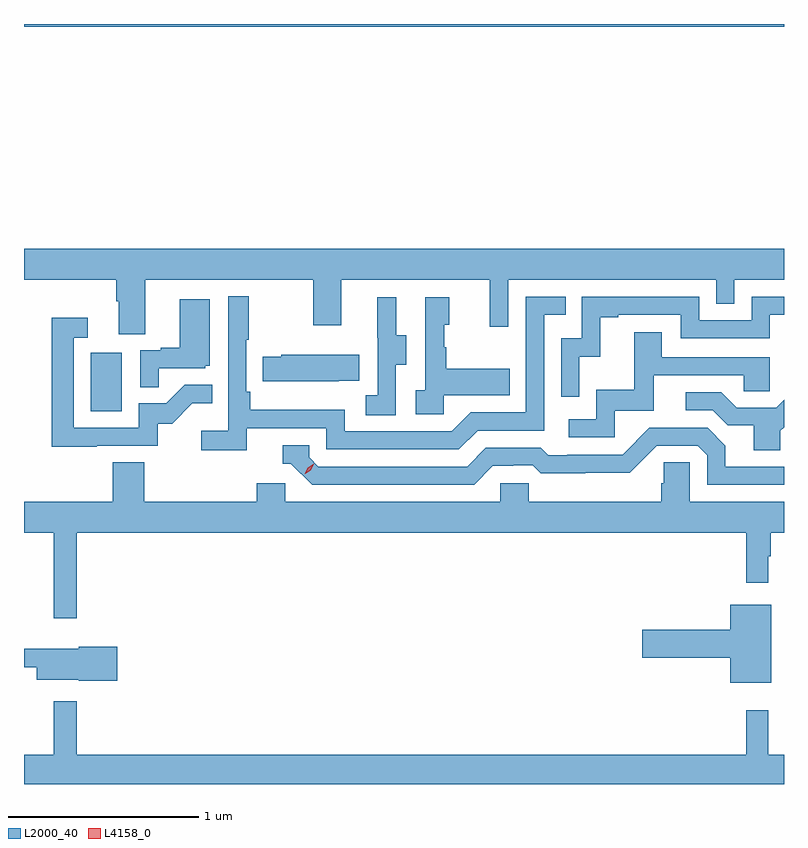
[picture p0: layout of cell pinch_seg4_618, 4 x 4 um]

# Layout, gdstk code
import gdstk
lib = gdstk.Library(unit=1e-6, precision=1e-09)
def R(c, l, rs):  # rectangles x0, y0, x1, y1
    for r in rs: c.add(gdstk.rectangle(r[:2], r[2:], *l))
def P(c, l, *ps):  # polygons
    for p in ps: c.add(gdstk.Polygon(p, *l))
L2000_40 = (2000, 40)
L4158_0 = (4158, 0)

pinch_seg4_618 = lib.new_cell('pinch_seg4_618')
R(pinch_seg4_618, L2000_40, [(1065.752,765.492,1065.916,765.799), (1065.401,767.516,1069.401,767.53)])
P(pinch_seg4_618, L2000_40, [(1066.039,766.184),(1066.924,766.184),(1066.924,765.945),(1067.071,765.945),(1067.071,766.184),(1067.852,766.184),(1067.852,765.936),(1067.949,765.936),(1067.949,766.184),(1069.044,766.184),(1069.044,766.057),(1069.14,766.057),(1069.14,766.184),(1069.401,766.184),(1069.401,766.348),(1065.401,766.348),(1065.401,766.184),(1065.887,766.184),(1065.887,766.072),(1065.899,766.072),(1065.899,765.898),(1066.039,765.898)],
  [(1066.574,765.402),(1066.992,765.402),(1066.992,765.291),(1067.689,765.291),(1067.788,765.39),(1068.138,765.39),(1068.138,765.999),(1068.251,765.999),(1068.251,766.095),(1068.042,766.095),(1068.042,765.486),(1067.751,765.486),(1067.652,765.387),(1067.088,765.387),(1067.088,765.499),(1066.592,765.499),(1066.592,765.595),(1066.572,765.595),(1066.572,765.868),(1066.585,765.868),(1066.585,766.096),(1066.476,766.096),(1066.476,765.388),(1066.335,765.388),(1066.335,765.286),(1066.574,765.286)],
  [(1068.324,765.779),(1068.434,765.779),(1068.434,765.987),(1068.529,765.987),(1068.529,765.999),(1068.858,765.999),(1068.858,765.876),(1069.326,765.876),(1069.326,765.999),(1069.401,765.999),(1069.401,766.095),(1069.23,766.095),(1069.23,765.972),(1068.954,765.972),(1068.954,766.095),(1068.336,766.095),(1068.336,765.876),(1068.228,765.876),(1068.228,765.567),(1068.324,765.567)],
  [(1067.358,765.736),(1067.413,765.736),(1067.413,765.891),(1067.359,765.891),(1067.359,766.093),(1067.261,766.093),(1067.261,765.879),(1067.262,765.879),(1067.262,765.575),(1067.199,765.575),(1067.199,765.472),(1067.358,765.472)],
  [(1067.61,765.575),(1067.957,765.575),(1067.957,765.715),(1067.623,765.715),(1067.623,765.83),(1067.613,765.83),(1067.613,765.948),(1067.638,765.948),(1067.638,766.093),(1067.514,766.093),(1067.514,765.602),(1067.463,765.602),(1067.463,765.477),(1067.61,765.477)],
  [(1066.109,765.717),(1066.356,765.717),(1066.356,765.732),(1066.378,765.732),(1066.378,766.081),(1066.22,766.081),(1066.22,765.826),(1066.121,765.826),(1066.121,765.813),(1066.014,765.813),(1066.014,765.619),(1066.109,765.619)],
  [(1065.785,765.309),(1066.104,765.309),(1066.104,765.426),(1066.18,765.426),(1066.287,765.533),(1066.391,765.533),(1066.391,765.632),(1066.247,765.632),(1066.149,765.534),(1066.005,765.534),(1066.005,765.405),(1065.663,765.405),(1065.663,765.879),(1065.736,765.879),(1065.736,765.985),(1065.547,765.985),(1065.547,765.304),(1065.785,765.304)],
  [(1068.51,765.495),(1068.715,765.495),(1068.715,765.681),(1069.189,765.681),(1069.189,765.597),(1069.326,765.597),(1069.326,765.777),(1068.757,765.777),(1068.757,765.907),(1068.613,765.907),(1068.613,765.604),(1068.414,765.604),(1068.414,765.45),(1068.267,765.45),(1068.267,765.354),(1068.51,765.354)],
  [(1067.057,765.653),(1067.165,765.653),(1067.165,765.79),(1066.755,765.79),(1066.755,765.78),(1066.657,765.78),(1066.657,765.65),(1067.057,765.65)],
  [(1069.381,765.388),(1069.401,765.408),(1069.401,765.552),(1069.359,765.51),(1069.153,765.51),(1069.072,765.591),(1068.885,765.591),(1068.885,765.498),(1069.026,765.498),(1069.106,765.418),(1069.241,765.418),(1069.241,765.286),(1069.381,765.286)],
  [(1067.869,765.204),(1067.976,765.204),(1067.976,765.207),(1068.079,765.207),(1068.121,765.165),(1068.354,765.165),(1068.354,765.167),(1068.59,765.167),(1068.732,765.309),(1068.948,765.309),(1068.996,765.261),(1068.996,765.105),(1069.401,765.105),(1069.401,765.201),(1069.093,765.201),(1069.093,765.311),(1068.999,765.405),(1068.693,765.405),(1068.552,765.264),(1068.259,765.264),(1068.259,765.261),(1068.16,765.261),(1068.121,765.3),(1067.832,765.3),(1067.733,765.201),(1066.95,765.201),(1066.902,765.249),(1066.902,765.312),(1066.763,765.312),(1066.763,765.216),(1066.806,765.216),(1066.917,765.105),(1067.77,765.105)],
  [(1065.679,764.852),(1069.201,764.852),(1069.201,764.589),(1069.318,764.589),(1069.318,764.729),(1069.33,764.729),(1069.33,764.852),(1069.401,764.852),(1069.401,765.016),(1068.906,765.016),(1068.906,765.224),(1068.769,765.224),(1068.769,765.114),(1068.755,765.114),(1068.755,765.016),(1068.057,765.016),(1068.057,765.114),(1067.907,765.114),(1067.907,765.016),(1066.776,765.016),(1066.776,765.114),(1066.625,765.114),(1066.625,765.016),(1066.034,765.016),(1066.034,765.224),(1065.869,765.224),(1065.869,765.016),(1065.401,765.016),(1065.401,764.852),(1065.557,764.852),(1065.557,764.403),(1065.679,764.403)],
  [(1069.333,764.473),(1069.118,764.473),(1069.118,764.342),(1068.654,764.342),(1068.654,764.195),(1069.118,764.195),(1069.118,764.063),(1069.333,764.063)],
  [(1065.892,764.252),(1065.69,764.252),(1065.69,764.242),(1065.471,764.242),(1065.471,764.241),(1065.401,764.241),(1065.401,764.145),(1065.467,764.145),(1065.467,764.078),(1065.69,764.078),(1065.69,764.074),(1065.892,764.074)],
  [(1069.401,763.684),(1069.317,763.684),(1069.317,763.918),(1069.201,763.918),(1069.201,763.684),(1065.679,763.684),(1065.679,763.966),(1065.557,763.966),(1065.557,763.684),(1065.401,763.684),(1065.401,763.53),(1069.401,763.53)])
P(pinch_seg4_618, L4158_0, [(1066.879,765.163),(1066.879,765.163),(1066.895,765.195),(1066.926,765.215),(1066.926,765.215),(1066.926,765.215),(1066.91,765.182),(1066.88,765.163)])

lib.write_gds('pinch_seg4_618.gds')
